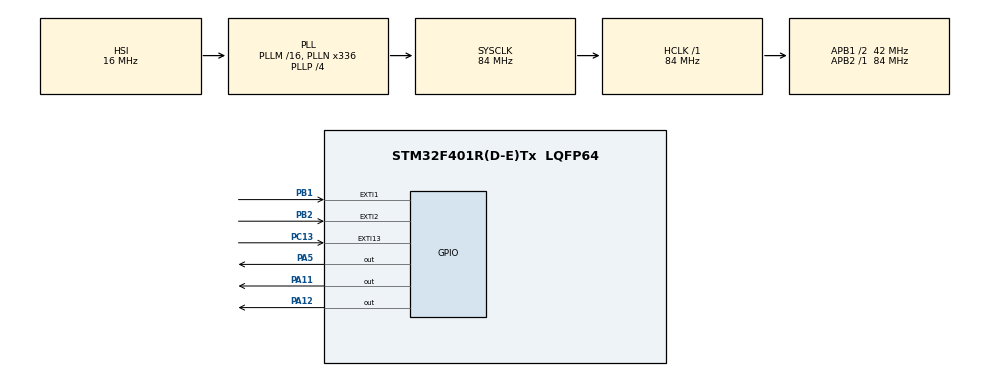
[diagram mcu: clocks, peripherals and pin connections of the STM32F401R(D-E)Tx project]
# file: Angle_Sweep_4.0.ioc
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Mcu.Family=STM32F4
Mcu.Name=STM32F401R(D-E)Tx
Mcu.Package=LQFP64
NVIC.EXTI15_10_IRQn=true\:0\:0\:false\:false\:true\:true\:true\:true
NVIC.EXTI1_IRQn=true\:0\:0\:false\:false\:true\:true\:true\:true
NVIC.EXTI2_IRQn=true\:0\:0\:false\:false\:true\:true\:true\:true
NVIC.PriorityGroup=NVIC_PRIORITYGROUP_0
NVIC.TIM1_UP_TIM10_IRQn=true\:0\:0\:false\:false\:true\:true\:true\:true
PA11.Signal=GPIO_Output
PA12.Signal=GPIO_Output
PA5.GPIO_ModeDefaultOutputPP=GPIO_MODE_OUTPUT_OD
PA5.GPIO_PuPd=GPIO_NOPULL
PA5.PinState=GPIO_PIN_RESET
PA5.Signal=GPIO_Output
PB1.GPIO_PuPd=GPIO_PULLUP
PB1.Signal=GPXTI1
PB2.GPIO_PuPd=GPIO_PULLUP
PB2.Signal=GPXTI2
PC13-ANTI_TAMP.GPIO_PuPd=GPIO_PULLUP
PC13-ANTI_TAMP.Signal=GPXTI13
ProjectManager.HeapSize=0x200
ProjectManager.StackSize=0x400
ProjectManager.TargetToolchain=STM32CubeIDE
RCC.48MHZClocksFreq_Value=48000000
RCC.AHBFreq_Value=84000000
RCC.APB1CLKDivider=RCC_HCLK_DIV2
RCC.APB1Freq_Value=42000000
RCC.APB1TimFreq_Value=84000000
RCC.APB2Freq_Value=84000000
RCC.APB2TimFreq_Value=84000000
RCC.CortexFreq_Value=84000000
RCC.HCLKFreq_Value=84000000
RCC.HSE_VALUE=8000000
RCC.HSI_VALUE=16000000
RCC.LSE_VALUE=32768
RCC.PLLN=336
RCC.PLLP=RCC_PLLP_DIV4
RCC.PLLQ=7
RCC.SYSCLKFreq_VALUE=84000000
RCC.SYSCLKSource=RCC_SYSCLKSOURCE_PLLCLK
RCC.VCOOutputFreq_Value=336000000
TIM10.AutoReloadPreload=TIM_AUTORELOAD_PRELOAD_ENABLE
TIM10.Period=500
TIM10.Prescaler=16000
VP_RTC_VS_RTC_Activate.Mode=RTC_Enabled
VP_RTC_VS_RTC_Calendar.Mode=RTC_Calendar
VP_TIM10_VS_ClockSourceINT.Mode=Enable_Timer
board=NUCLEO-F401RE

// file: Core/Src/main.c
/* USER CODE BEGIN Header */
/**
  ******************************************************************************
  * @file           : main.c
  * @brief          : Main program body
  ******************************************************************************
  * @attention
  *
  * Copyright (c) 2022 STMicroelectronics.
  * All rights reserved.
  *
  * This software is licensed under terms that can be found in the LICENSE file
  * in the root directory of this software component.
  * If no LICENSE file comes with this software, it is provided AS-IS.
  *
  ******************************************************************************
  */
/* USER CODE END Header */
#include "main.h"

/* USER CODE BEGIN Includes */
#include "stdio.h"
#include <stdlib.h>
#include <string.h>
/* USER CODE END Includes */

RTC_HandleTypeDef hrtc;

TIM_HandleTypeDef htim10;

void SystemClock_Config(void);
static void MX_GPIO_Init(void);
static void MX_RTC_Init(void);
static void MX_TIM10_Init(void);
/* USER CODE BEGIN PFP */
float angle_to_step(float angle);
float step_to_angle(float step);
void update_pos();
void motor_move(float angle);
/* USER CODE END PFP */

/* USER CODE BEGIN 0 */

volatile int button_int=0;
volatile int first_movement = 0;
volatile int state = 0;
/*
 * 0: Default state
 * 1: Calibration
 * 2: Sweeping state
 * 3: Security state
 * */

volatile int32_t pos0 = 0; //step in which the motor 1 is
volatile int32_t pos1 = 0; //step in which the motor 2 is
volatile int32_t pos2 = 0; //step in which the motor 3 is
volatile float angle = 0; //value of the angle the motor has to be at any time
volatile int step = 0;
volatile int counter = 0;

// Angle constants
float max_angle = 50; //max sweeping angle
float min_angle = -50; //min sweeping angle
float FC1_angle = -55.1; //security angle
float FC2_angle = 55.1; //calibration angle

//Initialization parameters

static volatile uint16_t gLastError;
L6474_Init_t gL6474InitParams =
{
    160,                               /// Acceleration rate in step/s2. Range: (0..+inf).
    160,                               /// Deceleration rate in step/s2. Range: (0..+inf).
    800,                              /// Maximum speed in step/s. Range: (30..10000].
    800,                               ///Minimum speed in step/s. Range: [30..10000).
    500,                               ///Torque regulation current in mA. (TVAL register) Range: 31.25mA to 4000mA.
    1000,                               ///Overcurrent threshold (OCD_TH register). Range: 375mA to 6000mA.
    L6474_CONFIG_OC_SD_ENABLE,         ///Overcurrent shutwdown (OC_SD field of CONFIG register).
    L6474_CONFIG_EN_TQREG_TVAL_USED,   /// Torque regulation method (EN_TQREG field of CONFIG register).
    L6474_STEP_SEL_1_16,               /// Step selection (STEP_SEL field of STEP_MODE register).
    L6474_SYNC_SEL_1_2,                /// Sync selection (SYNC_SEL field of STEP_MODE register).
    L6474_FAST_STEP_12us,              /// Fall time value (T_FAST field of T_FAST register). Range: 2us to 32us.
    L6474_TOFF_FAST_8us,               /// Maximum fast decay time (T_OFF field of T_FAST register). Range: 2us to 32us.
    3,                                 /// Minimum ON time in us (TON_MIN register). Range: 0.5us to 64us.
    21,                                /// Minimum OFF time in us (TOFF_MIN register). Range: 0.5us to 64us.
    L6474_CONFIG_TOFF_044us,           /// Target Swicthing Period (field TOFF of CONFIG register).
    L6474_CONFIG_SR_320V_us,           /// Slew rate (POW_SR field of CONFIG register).
    L6474_CONFIG_INT_16MHZ,            /// Clock setting (OSC_CLK_SEL field of CONFIG register).
    (L6474_ALARM_EN_OVERCURRENT      |
     L6474_ALARM_EN_THERMAL_SHUTDOWN |
     L6474_ALARM_EN_THERMAL_WARNING  |
     L6474_ALARM_EN_UNDERVOLTAGE     |
     L6474_ALARM_EN_SW_TURN_ON       |
     L6474_ALARM_EN_WRONG_NPERF_CMD)    /// Alarm (ALARM_EN register).
};
//Shield functions
void ErrorHandler_Shield(uint16_t error);
void MyFlagInterruptHandler(void)
{
  /* Get the value of the status register via the L6474 command GET_STATUS */
  uint16_t statusRegister = BSP_MotorControl_CmdGetStatus(0);

  /* Check HIZ flag: if set, power brigdes are disabled */
  if ((statusRegister & L6474_STATUS_HIZ) == L6474_STATUS_HIZ)
  {
    // HIZ state
    // Action to be customized
  }

  /* Check direction bit */
  if ((statusRegister & L6474_STATUS_DIR) == L6474_STATUS_DIR)
  {
    // Forward direction is set
    // Action to be customized
  }
  else
  {
    // Backward direction is set
    // Action to be customized
  }

  /* Check NOTPERF_CMD flag: if set, the command received by SPI can't be performed */
  /* This often occures when a command is sent to the L6474 */
  /* while it is in HIZ state */
  if ((statusRegister & L6474_STATUS_NOTPERF_CMD) == L6474_STATUS_NOTPERF_CMD)
  {
      // Command received by SPI can't be performed
     // Action to be customized
  }

  /* Check WRONG_CMD flag: if set, the command does not exist */
  if ((statusRegister & L6474_STATUS_WRONG_CMD) == L6474_STATUS_WRONG_CMD)
  {
     //command received by SPI does not exist
     // Action to be customized
  }

  /* Check UVLO flag: if not set, there is an undervoltage lock-out */
  if ((statusRegister & L6474_STATUS_UVLO) == 0)
  {
     //undervoltage lock-out
     // Action to be customized
  }

  /* Check TH_WRN flag: if not set, the thermal warning threshold is reached */
  if ((statusRegister & L6474_STATUS_TH_WRN) == 0)
  {
    //thermal warning threshold is reached
    // Action to be customized
  }

  /* Check TH_SHD flag: if not set, the thermal shut down threshold is reached */
  if ((statusRegister & L6474_STATUS_TH_SD) == 0)
  {
    //thermal shut down threshold is reached
    // Action to be customized
  }

  /* Check OCD  flag: if not set, there is an overcurrent detection */
  if ((statusRegister & L6474_STATUS_OCD) == 0)
  {
    //overcurrent detection
    // Action to be customized
  }

}

//Interruptions Callback
void HAL_GPIO_EXTI_Callback(uint16_t GPIO_Pin){

	if(GPIO_Pin == GPIO_PIN_13){ //User button
		button_int = 1;
	}

	if(GPIO_Pin == GPIO_PIN_2){ //Calibration EoS
		//Motor HardStop
		BSP_MotorControl_HardStop(0);
		BSP_MotorControl_HardStop(1);
		BSP_MotorControl_HardStop(2);
		state = 2;//Sweeping
	}
	else if(GPIO_Pin == GPIO_PIN_1){ //Security EoS
		//Motor HardStop
		BSP_MotorControl_HardStop(0);
		BSP_MotorControl_HardStop(1);
		BSP_MotorControl_HardStop(2);
		state = 3;//Security

	}
	else if (GPIO_Pin == BSP_MOTOR_CONTROL_BOARD_FLAG_PIN) //Shield interrupt handler
	{
		BSP_MotorControl_FlagInterruptHandler();
	}
}

//Sweeper timer
void HAL_TIM_PeriodElapsedCallback(TIM_HandleTypeDef *htim){

	if (htim == &htim10){
	}
}

float angle_to_step(float angle){
	float conversion = angle * 164.8;
	return conversion;
}

float step_to_angle(float step){
	float conversion = angle / 164.8;
	return conversion;
}

void update_pos(){
	pos0 = BSP_MotorControl_GetPosition(0);
	pos1 = BSP_MotorControl_GetPosition(1);
	pos2 = BSP_MotorControl_GetPosition(2);
    angle = pos0 / 164.8;
}

int debouncer(volatile int* button_int, GPIO_TypeDef* GPIO_port, uint16_t GPIO_number){
	static uint8_t button_count=0;
	static int counter=0;

	if (*button_int==1){
		if (button_count==0) {
			counter=HAL_GetTick();
			button_count++;
		}
		if (HAL_GetTick()-counter>=20){
			counter=HAL_GetTick();
			if (HAL_GPIO_ReadPin(GPIO_port, GPIO_number)!=1){
				button_count=1;
			}
			else{
				button_count++;
			}
			if (button_count==4){ //Periodo antirebotes
				button_count=0;
				*button_int=0;
				return 1;
			}
		}
	}
	return 0;
}

/* USER CODE END 0 */

int main(void)
{

  /* MCU Configuration--------------------------------------------------------*/

  /* Reset of all peripherals, Initializes the Flash interface and the Systick. */
  HAL_Init();

  /* Configure the system clock */
  SystemClock_Config();

  /* Initialize all configured peripherals */
  MX_GPIO_Init();
  MX_RTC_Init();
  MX_TIM10_Init();
  /* USER CODE BEGIN 2 */

  //Driver initialisation
  BSP_MotorControl_SetNbDevices(BSP_MOTOR_CONTROL_BOARD_ID_L6474, 3);

  // Initialisation of first device
  BSP_MotorControl_Init(BSP_MOTOR_CONTROL_BOARD_ID_L6474, NULL);
  // Initialisation of second device
  BSP_MotorControl_Init(BSP_MOTOR_CONTROL_BOARD_ID_L6474, NULL);
  // Initialisation of third device
  BSP_MotorControl_Init(BSP_MOTOR_CONTROL_BOARD_ID_L6474, NULL);
  //Sets the stepping mode
  BSP_MotorControl_SelectStepMode(0, STEP_MODE_1_16 );
  //Sets the stepping mode
  BSP_MotorControl_SelectStepMode(1, STEP_MODE_1_16 );
  //Sets the stepping mode
  BSP_MotorControl_SelectStepMode(2, STEP_MODE_1_16 );

  BSP_MotorControl_AttachFlagInterrupt(MyFlagInterruptHandler);
  BSP_MotorControl_AttachErrorHandler(ErrorHandler_Shield);

  //Initialization of values
  state = 0;
  first_movement = 0;
  counter = 0;

  /* USER CODE END 2 */

  /* Infinite loop */
  /* USER CODE BEGIN WHILE */
  while (1)
  {

	  if (state == 0){ //Default state
		  //HAL_GPIO_TogglePin(GPIOA, GPIO_PIN_5);
		  //HAL_Delay (500);
		  if (debouncer(&button_int, GPIOC, GPIO_PIN_13)){
			  state = 1;
		  }
	  }
	  else if (state == 1){ //Calibration
		  //The trackers must be horizontally aligned
		  HAL_GPIO_WritePin(GPIOA, GPIO_PIN_11, RESET);
		  HAL_GPIO_WritePin(GPIOA, GPIO_PIN_12, RESET);
		  pos0 = BSP_MotorControl_GetPosition(0);
		  pos1 = BSP_MotorControl_GetPosition(1);
		  pos2 = BSP_MotorControl_GetPosition(2);
		  BSP_MotorControl_SetMark(0,pos0);//Save the mark as reference
		  BSP_MotorControl_SetMark(1,pos1);
		  BSP_MotorControl_SetMark(2,pos2);
		  BSP_MotorControl_SetMaxSpeed(0,800);//Set the speed limits
		  BSP_MotorControl_SetMaxSpeed(1,800);
		  BSP_MotorControl_SetMaxSpeed(2,800);
		  BSP_MotorControl_SetMinSpeed(0,800);
		  BSP_MotorControl_SetMinSpeed(1,800);
		  BSP_MotorControl_SetMinSpeed(2,800);
		  BSP_MotorControl_Run(0, FORWARD);//Move to the calibration end of stroke
		  BSP_MotorControl_Run(1, FORWARD);
		  BSP_MotorControl_Run(2, FORWARD);
		  BSP_MotorControl_WaitWhileActive(0);//Wait to the previous movement to finish
		  BSP_MotorControl_WaitWhileActive(1);
		  BSP_MotorControl_WaitWhileActive(2);
	  }

	  else if (state == 2){ //Sweeping
		  if (first_movement == 0){//
			  pos0 = BSP_MotorControl_GetPosition(0);
			  pos1 = BSP_MotorControl_GetPosition(1);
			  pos2 = BSP_MotorControl_GetPosition(2);
			  BSP_MotorControl_SetHome(0,pos0);//Set the step 0 in this position
			  BSP_MotorControl_SetHome(1,pos1);
			  BSP_MotorControl_SetHome(2,pos2);
			  BSP_MotorControl_SetMaxSpeed(0,400);//Set the speed limits
			  BSP_MotorControl_SetMaxSpeed(1,400);
			  BSP_MotorControl_SetMaxSpeed(2,400);
			  BSP_MotorControl_SetMinSpeed(0,400);
			  BSP_MotorControl_SetMinSpeed(1,400);
			  BSP_MotorControl_SetMinSpeed(2,400);
			  BSP_MotorControl_GoTo(0,-861);//Move to the absolute position
			  BSP_MotorControl_GoTo(1,-861);
			  BSP_MotorControl_GoTo(2,-861);
			  BSP_MotorControl_WaitWhileActive(0);//Wait to the previous movement to finish
			  BSP_MotorControl_WaitWhileActive(1);
			  BSP_MotorControl_WaitWhileActive(2);
			  BSP_MotorControl_SoftStop(0);//Decelerate until stopping
			  BSP_MotorControl_SoftStop(1);
			  BSP_MotorControl_SoftStop(2);
			  first_movement = 1;
		  }
		  BSP_MotorControl_SetMaxSpeed(0,600);//Set the speed limits
		  BSP_MotorControl_SetMaxSpeed(1,600);
		  BSP_MotorControl_SetMaxSpeed(2,600);
		  BSP_MotorControl_SetMinSpeed(0,600);
		  BSP_MotorControl_SetMinSpeed(1,600);
		  BSP_MotorControl_SetMinSpeed(2,600);
		  HAL_GPIO_WritePin(GPIOA, GPIO_PIN_11, RESET);
		  HAL_GPIO_WritePin(GPIOA, GPIO_PIN_12, SET);
		  BSP_MotorControl_GoTo(0,-16889);//Move to the absolute position
		  BSP_MotorControl_GoTo(1,-16889);
		  BSP_MotorControl_GoTo(2,-16889);
		  BSP_MotorControl_WaitWhileActive(0);//Wait to the previous movement to finish
		  BSP_MotorControl_WaitWhileActive(1);
		  BSP_MotorControl_WaitWhileActive(2);
		  BSP_MotorControl_SoftStop(0);//Decelerate until stopping
		  BSP_MotorControl_SoftStop(1);
		  BSP_MotorControl_SoftStop(2);
		  HAL_GPIO_WritePin(GPIOA, GPIO_PIN_11, SET);
		  HAL_GPIO_WritePin(GPIOA, GPIO_PIN_12, RESET);
		  BSP_MotorControl_GoTo(0,-861);//Move to the absolute position
		  BSP_MotorControl_GoTo(1,-861);
		  BSP_MotorControl_GoTo(2,-861);
		  BSP_MotorControl_WaitWhileActive(0);//Wait to the previous movement to finish
		  BSP_MotorControl_WaitWhileActive(1);
		  BSP_MotorControl_WaitWhileActive(2);
		  BSP_MotorControl_SoftStop(0);//Decelerate until stopping
		  BSP_MotorControl_SoftStop(1);
		  BSP_MotorControl_SoftStop(2);
		  counter++;
		  if (counter >= 60){
			  HAL_GPIO_WritePin(GPIOA, GPIO_PIN_11, RESET);
			  HAL_GPIO_WritePin(GPIOA, GPIO_PIN_12, RESET);
			  BSP_MotorControl_GoMark(0);//Go to the mark
			  BSP_MotorControl_GoMark(1);
			  BSP_MotorControl_GoMark(2);
			  BSP_MotorControl_WaitWhileActive(0);//Wait to the previous movement to finish
			  BSP_MotorControl_WaitWhileActive(1);
			  BSP_MotorControl_WaitWhileActive(2);
			  BSP_MotorControl_SoftStop(0);//Decelerate until stopping
			  BSP_MotorControl_SoftStop(1);
			  BSP_MotorControl_SoftStop(2);
			  state = 1;
		  }
	  }

	  else if (state == 3){ //Security
		  //Wait to manual check the model, mandatory reset
		  HAL_GPIO_TogglePin (GPIOA, GPIO_PIN_5);
		  HAL_Delay (500);
	  }

    /* USER CODE END WHILE */

  }
}

void SystemClock_Config(void)
{
  RCC_OscInitTypeDef RCC_OscInitStruct = {0};
  RCC_ClkInitTypeDef RCC_ClkInitStruct = {0};

  /** Configure the main internal regulator output voltage
  */
  __HAL_RCC_PWR_CLK_ENABLE();
  __HAL_PWR_VOLTAGESCALING_CONFIG(PWR_REGULATOR_VOLTAGE_SCALE2);

  /** Initializes the RCC Oscillators according to the specified parameters
  * in the RCC_OscInitTypeDef structure.
  */
  RCC_OscInitStruct.OscillatorType = RCC_OSCILLATORTYPE_HSI|RCC_OSCILLATORTYPE_LSI;
  RCC_OscInitStruct.HSIState = RCC_HSI_ON;
  RCC_OscInitStruct.HSICalibrationValue = RCC_HSICALIBRATION_DEFAULT;
  RCC_OscInitStruct.LSIState = RCC_LSI_ON;
  RCC_OscInitStruct.PLL.PLLState = RCC_PLL_ON;
  RCC_OscInitStruct.PLL.PLLSource = RCC_PLLSOURCE_HSI;
  RCC_OscInitStruct.PLL.PLLM = 16;
  RCC_OscInitStruct.PLL.PLLN = 336;
  RCC_OscInitStruct.PLL.PLLP = RCC_PLLP_DIV4;
  RCC_OscInitStruct.PLL.PLLQ = 7;
  if (HAL_RCC_OscConfig(&RCC_OscInitStruct) != HAL_OK)
  {
    Error_Handler();
  }

  /** Initializes the CPU, AHB and APB buses clocks
  */
  RCC_ClkInitStruct.ClockType = RCC_CLOCKTYPE_HCLK|RCC_CLOCKTYPE_SYSCLK
                              |RCC_CLOCKTYPE_PCLK1|RCC_CLOCKTYPE_PCLK2;
  RCC_ClkInitStruct.SYSCLKSource = RCC_SYSCLKSOURCE_PLLCLK;
  RCC_ClkInitStruct.AHBCLKDivider = RCC_SYSCLK_DIV1;
  RCC_ClkInitStruct.APB1CLKDivider = RCC_HCLK_DIV2;
  RCC_ClkInitStruct.APB2CLKDivider = RCC_HCLK_DIV1;

  if (HAL_RCC_ClockConfig(&RCC_ClkInitStruct, FLASH_LATENCY_2) != HAL_OK)
  {
    Error_Handler();
  }
}

static void MX_RTC_Init(void)
{

  RTC_TimeTypeDef sTime = {0};
  RTC_DateTypeDef sDate = {0};

  /** Initialize RTC Only
  */
  hrtc.Instance = RTC;
  hrtc.Init.HourFormat = RTC_HOURFORMAT_24;
  hrtc.Init.AsynchPrediv = 127;
  hrtc.Init.SynchPrediv = 255;
  hrtc.Init.OutPut = RTC_OUTPUT_DISABLE;
  hrtc.Init.OutPutPolarity = RTC_OUTPUT_POLARITY_HIGH;
  hrtc.Init.OutPutType = RTC_OUTPUT_TYPE_OPENDRAIN;
  if (HAL_RTC_Init(&hrtc) != HAL_OK)
  {
    Error_Handler();
  }

  /** Initialize RTC and set the Time and Date
  */
  sTime.Hours = 0x0;
  sTime.Minutes = 0x0;
  sTime.Seconds = 0x0;
  sTime.DayLightSaving = RTC_DAYLIGHTSAVING_NONE;
  sTime.StoreOperation = RTC_STOREOPERATION_RESET;
  if (HAL_RTC_SetTime(&hrtc, &sTime, RTC_FORMAT_BCD) != HAL_OK)
  {
    Error_Handler();
  }
  sDate.WeekDay = RTC_WEEKDAY_MONDAY;
  sDate.Month = RTC_MONTH_JANUARY;
  sDate.Date = 0x1;
  sDate.Year = 0x0;

  if (HAL_RTC_SetDate(&hrtc, &sDate, RTC_FORMAT_BCD) != HAL_OK)
  {
    Error_Handler();
  }

}

static void MX_TIM10_Init(void)
{

  htim10.Instance = TIM10;
  htim10.Init.Prescaler = 16000;
  htim10.Init.CounterMode = TIM_COUNTERMODE_UP;
  htim10.Init.Period = 500;
  htim10.Init.ClockDivision = TIM_CLOCKDIVISION_DIV1;
  htim10.Init.AutoReloadPreload = TIM_AUTORELOAD_PRELOAD_ENABLE;
  if (HAL_TIM_Base_Init(&htim10) != HAL_OK)
  {
    Error_Handler();
  }

}

static void MX_GPIO_Init(void)
{
  GPIO_InitTypeDef GPIO_InitStruct = {0};

  /* GPIO Ports Clock Enable */
  __HAL_RCC_GPIOC_CLK_ENABLE();
  __HAL_RCC_GPIOA_CLK_ENABLE();
  __HAL_RCC_GPIOB_CLK_ENABLE();

  /*Configure GPIO pin Output Level */
  HAL_GPIO_WritePin(GPIOA, GPIO_PIN_5|GPIO_PIN_11|GPIO_PIN_12, GPIO_PIN_RESET);

  /*Configure GPIO pin : PC13 */
  GPIO_InitStruct.Pin = GPIO_PIN_13;
  GPIO_InitStruct.Mode = GPIO_MODE_IT_RISING;
  GPIO_InitStruct.Pull = GPIO_PULLUP;
  HAL_GPIO_Init(GPIOC, &GPIO_InitStruct);

  /*Configure GPIO pin : PA5 */
  GPIO_InitStruct.Pin = GPIO_PIN_5;
  GPIO_InitStruct.Mode = GPIO_MODE_OUTPUT_OD;
  GPIO_InitStruct.Pull = GPIO_NOPULL;
  GPIO_InitStruct.Speed = GPIO_SPEED_FREQ_LOW;
  HAL_GPIO_Init(GPIOA, &GPIO_InitStruct);

  /*Configure GPIO pins : PB1 PB2 */
  GPIO_InitStruct.Pin = GPIO_PIN_1|GPIO_PIN_2;
  GPIO_InitStruct.Mode = GPIO_MODE_IT_RISING;
  GPIO_InitStruct.Pull = GPIO_PULLUP;
  HAL_GPIO_Init(GPIOB, &GPIO_InitStruct);

  /*Configure GPIO pins : PA11 PA12 */
  GPIO_InitStruct.Pin = GPIO_PIN_11|GPIO_PIN_12;
  GPIO_InitStruct.Mode = GPIO_MODE_OUTPUT_PP;
  GPIO_InitStruct.Pull = GPIO_NOPULL;
  GPIO_InitStruct.Speed = GPIO_SPEED_FREQ_LOW;
  HAL_GPIO_Init(GPIOA, &GPIO_InitStruct);

  /* EXTI interrupt init*/
  HAL_NVIC_SetPriority(EXTI1_IRQn, 0, 0);
  HAL_NVIC_EnableIRQ(EXTI1_IRQn);

  HAL_NVIC_SetPriority(EXTI2_IRQn, 0, 0);
  HAL_NVIC_EnableIRQ(EXTI2_IRQn);

  HAL_NVIC_SetPriority(EXTI15_10_IRQn, 0, 0);
  HAL_NVIC_EnableIRQ(EXTI15_10_IRQn);

}

/* USER CODE BEGIN 4 */
int _write(int file, char *ptr, int len){
	int DataIdx;

	for(DataIdx = 0; DataIdx < len; DataIdx++){
		ITM_SendChar(*ptr++);
	}
	return len;
}

void ErrorHandler_Shield(uint16_t error)
{
  /* Backup error number */
  gLastError = error;

  /* Infinite loop */
  while(1)
  {
  }
}

/* USER CODE END 4 */

void Error_Handler(void)
{
  __disable_irq();
  while (1)
  {
  }
}
